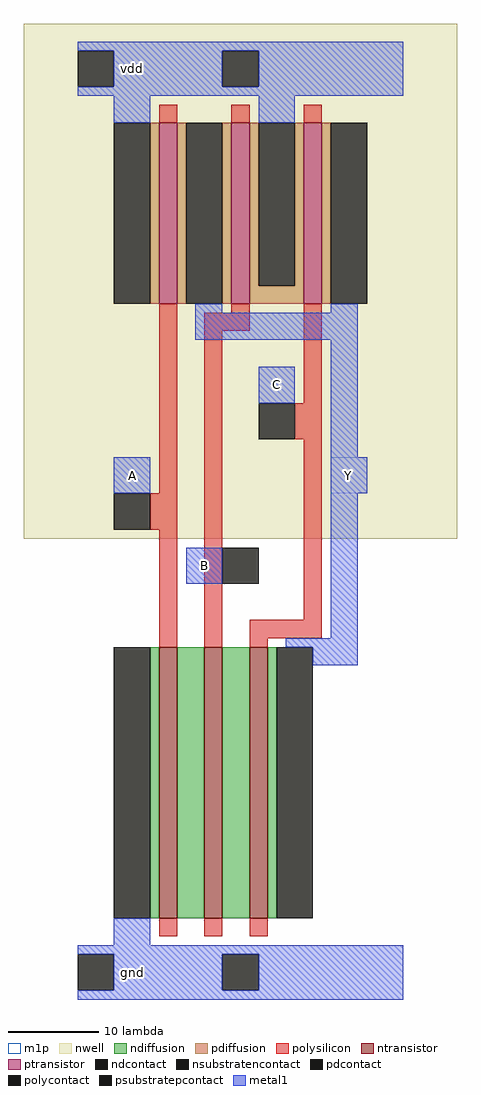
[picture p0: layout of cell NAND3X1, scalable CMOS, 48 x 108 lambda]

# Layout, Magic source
magic
tech scmos
<< nwell >>
rect -8 48 40 105
<< ntransistor >>
rect 7 6 9 36
rect 12 6 14 36
rect 17 6 19 36
<< ptransistor >>
rect 7 74 9 94
rect 15 74 17 94
rect 23 74 25 94
<< ndiffusion >>
rect 6 6 7 36
rect 9 6 12 36
rect 14 6 17 36
rect 19 6 20 36
<< pdiffusion >>
rect 6 74 7 94
rect 9 74 10 94
rect 14 74 15 94
rect 17 76 18 94
rect 22 76 23 94
rect 17 74 23 76
rect 25 74 26 94
<< ndcontact >>
rect 2 6 6 36
rect 20 6 24 36
<< pdcontact >>
rect 2 74 6 94
rect 10 74 14 94
rect 18 76 22 94
rect 26 74 30 94
<< psubstratepcontact >>
rect -2 -2 2 2
rect 14 -2 18 2
<< nsubstratencontact >>
rect -2 98 2 102
rect 14 98 18 102
<< polysilicon >>
rect 7 94 9 96
rect 15 94 17 96
rect 23 94 25 96
rect 7 53 9 74
rect 15 73 17 74
rect 6 49 9 53
rect 7 36 9 49
rect 12 71 17 73
rect 12 36 14 71
rect 23 63 25 74
rect 22 59 25 63
rect 23 39 25 59
rect 17 37 25 39
rect 17 36 19 37
rect 7 4 9 6
rect 12 4 14 6
rect 17 4 19 6
<< polycontact >>
rect 2 49 6 53
rect 18 59 22 63
rect 14 43 18 47
<< metal1 >>
rect -2 102 34 103
rect 2 98 14 102
rect 18 98 34 102
rect -2 97 34 98
rect 2 94 6 97
rect 18 94 22 97
rect 11 73 14 74
rect 26 73 29 74
rect 11 70 29 73
rect 18 63 22 67
rect 26 57 29 70
rect 2 53 6 57
rect 26 53 30 57
rect 10 43 14 47
rect 26 37 29 53
rect 21 36 29 37
rect 24 34 29 36
rect 2 3 6 6
rect -2 2 34 3
rect 2 -2 14 2
rect 18 -2 34 2
rect -2 -3 34 -2
<< m1p >>
rect 18 63 22 67
rect 2 53 6 57
rect 26 53 30 57
rect 10 43 14 47
<< labels >>
rlabel m1p 12 45 12 45 6 B
rlabel metal1 4 100 4 100 6 vdd
rlabel metal1 4 0 4 0 8 gnd
rlabel m1p 4 55 4 55 6 A
rlabel m1p 20 65 20 65 6 C
rlabel m1p 28 55 28 55 6 Y
<< end >>
